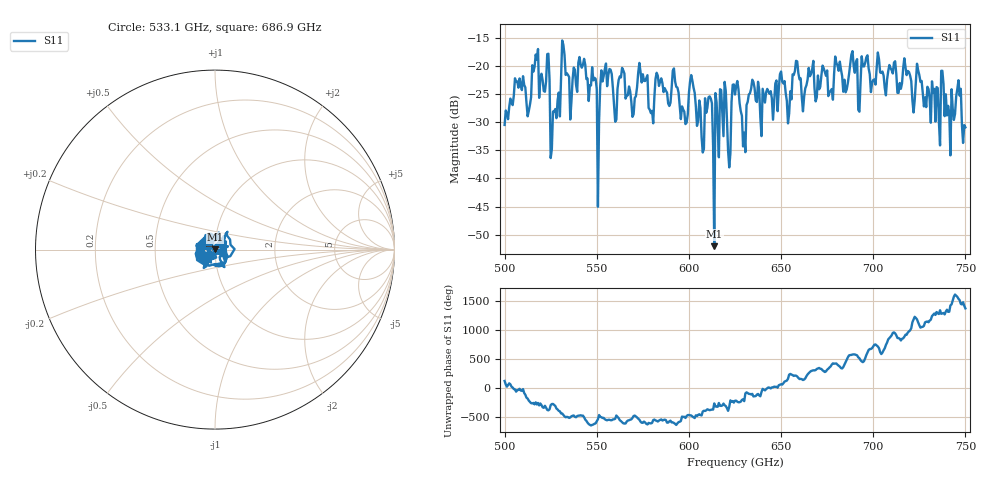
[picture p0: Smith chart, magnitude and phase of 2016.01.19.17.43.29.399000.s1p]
!Created with skrf (http://scikit-rf.org).
# GHz S RI R 50.0
!freq ReS11 ImS11
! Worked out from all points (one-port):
!   401 points, 500 GHz to 750 GHz, reference 50 ohm
!   lowest |S11| = -52.1 dB at 613.8 GHz (marker M1), VSWR 1.01, Z = 50 + j0.25 ohm
!   |S11| at or under -10 dB: start of sweep to end of sweep
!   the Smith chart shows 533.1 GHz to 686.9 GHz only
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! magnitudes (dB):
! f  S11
! 500 GHz  -30.5
! 506.9 GHz  -22.8
! 513.1 GHz  -28.0
! 516.9 GHz  -18.0
! 523.1 GHz  -17.9
! 526.2 GHz  -28.1
! 531.2 GHz  -15.5
! 548.8 GHz  -22.1
! 550.6 GHz  -45.0
! 553.8 GHz  -21.8
! 562.5 GHz  -21.9
! 593.8 GHz  -23.8
! 598.1 GHz  -30.3
! 601.9 GHz  -22.6
! 606.9 GHz  -32.6
! 611.2 GHz  -25.4
! 613.8 GHz  -52.1
! 618.1 GHz  -28.5
! 621.9 GHz  -38.0
! 625 GHz  -25.1
! 629.4 GHz  -34.3
! 634.4 GHz  -22.5
! 656.2 GHz  -21.5
! 687.5 GHz  -19.7
! 718.8 GHz  -20.9
! 740.6 GHz  -27.1
! 746.2 GHz  -22.5
! 750 GHz  -30.9
